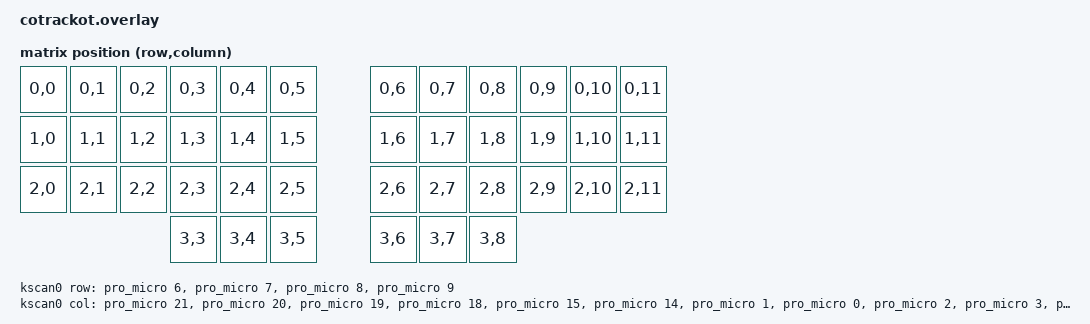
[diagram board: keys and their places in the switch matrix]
/*
 * Copyright (c) 2022 The ZMK Contributors
 *
 * SPDX-License-Identifier: MIT
 */

#include <dt-bindings/zmk/matrix_transform.h>
#include "cotrackot-layouts.dtsi"

// #define MOUSE_PS2_DRIVER_UART
#define MOUSE_PS2_PIN_SCL_PRO_MICRO <&pro_micro 1 GPIO_ACTIVE_HIGH>
#define MOUSE_PS2_PIN_SDA_PRO_MICRO <&pro_micro 0 GPIO_ACTIVE_HIGH>
#define MOUSE_PS2_PIN_RST_PRO_MICRO <&pro_micro 9 GPIO_ACTIVE_HIGH>
#define MOUSE_PS2_PIN_SDA_PINCTRL <NRF_PSEL(UART_RX, 0, 8)>

#define MOUSE_PS2_UART_BAUD_RATE <14400>
#define MOUSE_PS2_PIN_UNEXPOSED_TX <NRF_PSEL(UART_TX, 0, 27)>
#define MOUSE_PS2_PIN_UNEXPOSED_RX <NRF_PSEL(UART_RX, 0, 28)>

/ {
    chosen {
        zmk,kscan = &kscan0;
        zmk,physical-layout = &physical_layout0;
    };
    
    matrix_transform: keymap_transform0 {
        compatible = "zmk,matrix-transform";
        columns = <12>; // Length of the "col-gpios" array
        rows = <4>; // Length of the "row-gpios" array
        map = <
            RC(0,0) RC(0,1) RC(0,2) RC(0,3) RC(0,4) RC(0,5)   RC(0,6) RC(0,7) RC(0,8) RC(0,9) RC(0,10) RC(0,11)
            RC(1,0) RC(1,1) RC(1,2) RC(1,3) RC(1,4) RC(1,5)   RC(1,6) RC(1,7) RC(1,8) RC(1,9) RC(1,10) RC(1,11)
            RC(2,0) RC(2,1) RC(2,2) RC(2,3) RC(2,4) RC(2,5)   RC(2,6) RC(2,7) RC(2,8) RC(2,9) RC(2,10) RC(2,11)
                                    RC(3,3) RC(3,4) RC(3,5)   RC(3,6) RC(3,7) RC(3,8) 
            >;
    
    };
    
    kscan0: kscan0 {
        compatible = "zmk,kscan-gpio-matrix";
        diode-direction = "col2row";
        wakeup-source;

        col-gpios
            = <&pro_micro 21 GPIO_ACTIVE_HIGH>
            , <&pro_micro 20 GPIO_ACTIVE_HIGH>
            , <&pro_micro 19 GPIO_ACTIVE_HIGH>
            , <&pro_micro 18 GPIO_ACTIVE_HIGH>
            , <&pro_micro 15 GPIO_ACTIVE_HIGH>
            , <&pro_micro 14 GPIO_ACTIVE_HIGH>
            , <&pro_micro 1 GPIO_ACTIVE_HIGH>
            , <&pro_micro 0 GPIO_ACTIVE_HIGH>
            , <&pro_micro 2 GPIO_ACTIVE_HIGH>
            , <&pro_micro 3 GPIO_ACTIVE_HIGH>
            , <&pro_micro 4 GPIO_ACTIVE_HIGH>
            , <&pro_micro 5 GPIO_ACTIVE_HIGH>
            ;

        row-gpios
            = <&pro_micro 6 (GPIO_ACTIVE_HIGH | GPIO_PULL_DOWN)>
            , <&pro_micro 7 (GPIO_ACTIVE_HIGH | GPIO_PULL_DOWN)>
            , <&pro_micro 8 (GPIO_ACTIVE_HIGH | GPIO_PULL_DOWN)>
            , <&pro_micro 9 (GPIO_ACTIVE_HIGH | GPIO_PULL_DOWN)>
        ;
    };
};



&gpiote {
    interrupts = < 6 0 >;
};

&clock {
    interrupts = < 0 3 >;
};

&power {
    interrupts = < 0 3 >;
};

&radio {
    interrupts = < 1 3 >;
};

&uart0 {
    interrupts = < 2 3 >;
};

&i2c0 {
    interrupts = < 3 3 >;
};

&spi0 {
    interrupts = < 3 3 >;
};

&i2c1 {
    interrupts = < 4 3 >;
};

&spi1 {
    interrupts = < 4 3 >;
};

&nfct {
    interrupts = < 5 3 >;
};

&adc {
    interrupts = < 7 3 >;
};

&timer0 {
    interrupts = < 8 3 >;
};

&timer1 {
    interrupts = < 9 3 >;
};

&timer2 {
    interrupts = < 10 3 >;
};

&rtc0 {
    interrupts = < 11 3 >;
};

&temp {
    interrupts = < 12 3 >;
};

&rng {
    interrupts = < 13 3 >;
};

&ecb {
    interrupts = < 14 3 >;
};

&ccm {
    interrupts = < 15 3 >;
};

&wdt {
    interrupts = < 16 3 >;
};

&rtc1 {
    interrupts = < 17 3 >;
};

&qdec {
    interrupts = < 18 3 >;
};

&comp {
    interrupts = < 19 3 >;
};

&egu0 {
    interrupts = < 20 3 >;
};

&egu1 {
    interrupts = < 21 3 >;
};

&egu2 {
    interrupts = < 22 3 >;
};

&egu3 {
    interrupts = < 23 3 >;
};

&egu4 {
    interrupts = < 24 3 >;
};

&egu5 {
    interrupts = < 25 3 >;
};

&timer3 {
    interrupts = < 26 3 >;
};

&timer4 {
    interrupts = < 27 3 >;
};

&pwm0 {
    interrupts = < 28 3 >;
};

&pdm0 {
    interrupts = < 29 3 >;
};

&pwm1 {
    interrupts = < 33 3 >;
};

&pwm2 {
    interrupts = < 34 3 >;
};

&spi2 {
    interrupts = < 35 3 >;
};

&rtc2 {
    interrupts = < 36 3 >;
};

&i2s0 {
    interrupts = < 37 3 >;
};

&usbd {
    interrupts = < 39 3 >;
};

&uart1 {
    interrupts = < 40 3 >;
};

&qspi {
    interrupts = < 41 3 >;
};

&pwm3 {
    interrupts = < 45 3 >;
};

&spi3 {
    interrupts = < 47 3 >;
};

&cryptocell {
    interrupts = < 42 3 >;
};

&physical_layout0 {
    transform = <&default_transform>;
};



#define MOUSE_PS2_DT_PRESENT

&pinctrl {
	// This pinctrl state is used for receiving
	// For `UART_TX`, set an unused and unexposed pin
	// For `UART_RX`, set the PS/2 SDA pin number
	uart0_ps2_default: uart0_ps2_default {
		group1 {
			psels = MOUSE_PS2_PIN_UNEXPOSED_TX,
					MOUSE_PS2_PIN_SDA_PINCTRL;
		};
	};

	// Set this to the same pins as uart0_ps2_default
	uart0_ps2_sleep: uart0_ps2_sleep {
		group1 {
			psels = MOUSE_PS2_PIN_UNEXPOSED_TX,
					MOUSE_PS2_PIN_SDA_PINCTRL;
			low-power-enable;
		};
	};

	// The nrf52 UART controller is not compatible with the PS/2
	// transmission frame. So the PS/2 UART driver doesn't use UART for
	// transmissions and instead use GPIO bit-banging.
	//
	// When the driver switches to transmit mode, it frees up the SDA pin by
    // switching the UART controller to unexposed/unused pins.
	//
	// Then it configures the GPIO controller to use the SCL and SDA pins
	uart0_ps2_off: uart0_ps2_off {
		group1 {
			psels = MOUSE_PS2_PIN_UNEXPOSED_TX,
					MOUSE_PS2_PIN_UNEXPOSED_RX;
		};
	};
};


#ifdef MOUSE_PS2_DRIVER_UART

    &uart0 {
        status = "disabled";
        compatible = "nordic,nrf-uarte";

        current-speed = MOUSE_PS2_UART_BAUD_RATE;
        pinctrl-0 = <&uart0_ps2_default>;
        pinctrl-1 = <&uart0_ps2_off>;

        pinctrl-names = "default", "sleep";

        uart_ps2: uart_ps2 {
            status="disabled";
            compatible = "uart-ps2";
            scl-gpios = MOUSE_PS2_PIN_SCL_PRO_MICRO;
            sda-gpios = MOUSE_PS2_PIN_SDA_PRO_MICRO;
        };
    };

#else

    / {
        gpio_ps2: gpio_ps2 {
            status = "disabled";

            compatible = "gpio-ps2";
            scl-gpios = MOUSE_PS2_PIN_SCL_PRO_MICRO;
            sda-gpios = MOUSE_PS2_PIN_SDA_PRO_MICRO;
        };
    };

#endif


/ {
    mouse_ps2: mouse_ps2 {
		status = "disabled";
        compatible = "zmk,input-mouse-ps2";

#ifdef MOUSE_PS2_DRIVER_UART
	    ps2-device = <&uart_ps2>;
#else
	    ps2-device = <&gpio_ps2>;
#endif

#ifdef MOUSE_PS2_PIN_RST_PRO_MICRO
        rst-gpios = MOUSE_PS2_PIN_RST_PRO_MICRO;
#endif
    };
};
#include <input/processors.dtsi>
#include <dt-bindings/zmk/input_transform.h>
#include <zephyr/dt-bindings/input/input-event-codes.h>
/ {
    trackpoint_listener: trackpoint_listener {
        compatible = "zmk,input-listener";
        device = <&mouse_ps2>;
        input-processors = 
            <&zip_xy_transform (INPUT_TRANSFORM_X_INVERT)>
        , <&zip_xy_transform (INPUT_TRANSFORM_Y_INVERT)>
            ;
        scroller {
            layers = <5>;
            //process-next;
            input-processors = 
            <&zip_xy_transform (INPUT_TRANSFORM_X_INVERT)>,
            <&zip_xy_transform (INPUT_TRANSFORM_Y_INVERT)>,
            <&zip_xy_scaler 1 64>,<&zip_xy_to_scroll_mapper>;
        };
    };
};
